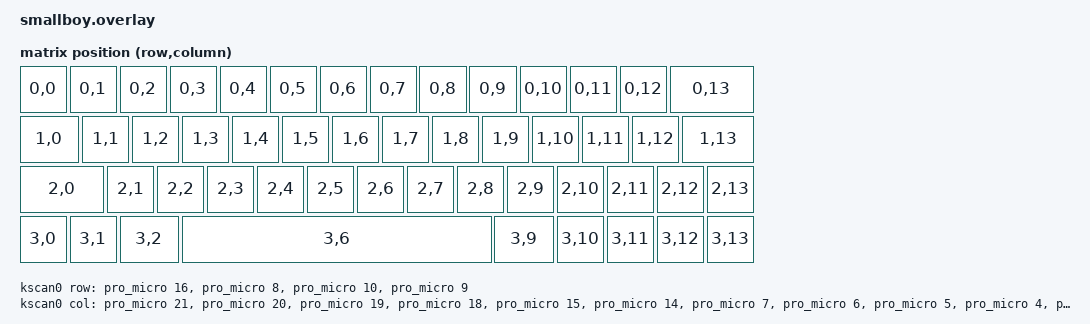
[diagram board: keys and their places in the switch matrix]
#include <dt-bindings/zmk/matrix_transform.h>
#include <physical_layouts.dtsi>

/ {
    chosen {
        zmk,kscan = &kscan0;
    };

    kscan0: kscan_0 {
        compatible = "zmk,kscan-gpio-matrix";
        wakeup-source;
        diode-direction = "col2row";

        col-gpios
            = <&pro_micro 21 GPIO_ACTIVE_HIGH> // col 0
            , <&pro_micro 20 GPIO_ACTIVE_HIGH> // col 1
            , <&pro_micro 19 GPIO_ACTIVE_HIGH> // col 2
            , <&pro_micro 18 GPIO_ACTIVE_HIGH> // col 3
            , <&pro_micro 15 GPIO_ACTIVE_HIGH> // col 4
            , <&pro_micro 14 GPIO_ACTIVE_HIGH> // col 5
            , <&pro_micro 7 GPIO_ACTIVE_HIGH> // col 6
            , <&pro_micro 6 GPIO_ACTIVE_HIGH> // col 7
            , <&pro_micro 5 GPIO_ACTIVE_HIGH> // col 8
            , <&pro_micro 4 GPIO_ACTIVE_HIGH> // col 9
            , <&pro_micro 3 GPIO_ACTIVE_HIGH> // col 10
            , <&pro_micro 2 GPIO_ACTIVE_HIGH> // col 11
            , <&pro_micro 1 GPIO_ACTIVE_HIGH> // col 12
            , <&pro_micro 0 GPIO_ACTIVE_HIGH> // col 13
            ;

        row-gpios
            = <&pro_micro 16 (GPIO_ACTIVE_HIGH | GPIO_PULL_DOWN)> // row 0
            , <&pro_micro 8 (GPIO_ACTIVE_HIGH | GPIO_PULL_DOWN)> // row 1
            , <&pro_micro 10 (GPIO_ACTIVE_HIGH | GPIO_PULL_DOWN)> // row 2
            , <&pro_micro 9 (GPIO_ACTIVE_HIGH | GPIO_PULL_DOWN)> // row 3
            ;
    };

    default_transform: matrix_transform {
        compatible = "zmk,matrix-transform";
        rows = <4>;
        columns = <14>;
        map = <
            RC(0,0) RC(0,1) RC(0,2) RC(0,3) RC(0,4) RC(0,5) RC(0,6) RC(0,7) RC(0,8) RC(0,9) RC(0,10) RC(0,11) RC(0,12) RC(0,13)
            RC(1,0) RC(1,1) RC(1,2) RC(1,3) RC(1,4) RC(1,5) RC(1,6) RC(1,7) RC(1,8) RC(1,9) RC(1,10) RC(1,11) RC(1,12) RC(1,13)
            RC(2,0) RC(2,1) RC(2,2) RC(2,3) RC(2,4) RC(2,5) RC(2,6) RC(2,7) RC(2,8) RC(2,9) RC(2,10) RC(2,11) RC(2,12) RC(2,13)
            RC(3,0) RC(3,1) RC(3,2)                         RC(3,6)                 RC(3,9) RC(3,10) RC(3,11) RC(3,12) RC(3,13)
        >;
    };

    default_layout: default_layout {
        compatible = "zmk,physical-layout";
        display-name = "Default";
        transform = <&default_transform>;
        kscan = <&kscan0>;

        keys  //                      w    h     x     y   rot   rx   ry
            = <&key_physical_attrs  100  100     0     0     0    0    0>
            , <&key_physical_attrs  100  100   100     0     0    0    0>
            , <&key_physical_attrs  100  100   200     0     0    0    0>
            , <&key_physical_attrs  100  100   300     0     0    0    0>
            , <&key_physical_attrs  100  100   400     0     0    0    0>
            , <&key_physical_attrs  100  100   500     0     0    0    0>
            , <&key_physical_attrs  100  100   600     0     0    0    0>
            , <&key_physical_attrs  100  100   700     0     0    0    0>
            , <&key_physical_attrs  100  100   800     0     0    0    0>
            , <&key_physical_attrs  100  100   900     0     0    0    0>
            , <&key_physical_attrs  100  100  1000     0     0    0    0>
            , <&key_physical_attrs  100  100  1100     0     0    0    0>
            , <&key_physical_attrs  100  100  1200     0     0    0    0>
            , <&key_physical_attrs  175  100  1300     0     0    0    0>
            , <&key_physical_attrs  125  100     0   100     0    0    0>
            , <&key_physical_attrs  100  100   125   100     0    0    0>
            , <&key_physical_attrs  100  100   225   100     0    0    0>
            , <&key_physical_attrs  100  100   325   100     0    0    0>
            , <&key_physical_attrs  100  100   425   100     0    0    0>
            , <&key_physical_attrs  100  100   525   100     0    0    0>
            , <&key_physical_attrs  100  100   625   100     0    0    0>
            , <&key_physical_attrs  100  100   725   100     0    0    0>
            , <&key_physical_attrs  100  100   825   100     0    0    0>
            , <&key_physical_attrs  100  100   925   100     0    0    0>
            , <&key_physical_attrs  100  100  1025   100     0    0    0>
            , <&key_physical_attrs  100  100  1125   100     0    0    0>
            , <&key_physical_attrs  100  100  1225   100     0    0    0>
            , <&key_physical_attrs  150  100  1325   100     0    0    0>
            , <&key_physical_attrs  175  100     0   200     0    0    0>
            , <&key_physical_attrs  100  100   175   200     0    0    0>
            , <&key_physical_attrs  100  100   275   200     0    0    0>
            , <&key_physical_attrs  100  100   375   200     0    0    0>
            , <&key_physical_attrs  100  100   475   200     0    0    0>
            , <&key_physical_attrs  100  100   575   200     0    0    0>
            , <&key_physical_attrs  100  100   675   200     0    0    0>
            , <&key_physical_attrs  100  100   775   200     0    0    0>
            , <&key_physical_attrs  100  100   875   200     0    0    0>
            , <&key_physical_attrs  100  100   975   200     0    0    0>
            , <&key_physical_attrs  100  100  1075   200     0    0    0>
            , <&key_physical_attrs  100  100  1175   200     0    0    0>
            , <&key_physical_attrs  100  100  1275   200     0    0    0>
            , <&key_physical_attrs  100  100  1375   200     0    0    0>
            , <&key_physical_attrs  100  100     0   300     0    0    0>
            , <&key_physical_attrs  100  100   100   300     0    0    0>
            , <&key_physical_attrs  125  100   200   300     0    0    0>
            , <&key_physical_attrs  625  100   325   300     0    0    0>
            , <&key_physical_attrs  125  100   950   300     0    0    0>
            , <&key_physical_attrs  100  100  1075   300     0    0    0>
            , <&key_physical_attrs  100  100  1175   300     0    0    0>
            , <&key_physical_attrs  100  100  1275   300     0    0    0>
            , <&key_physical_attrs  100  100  1375   300     0    0    0>
            ;
    };

};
